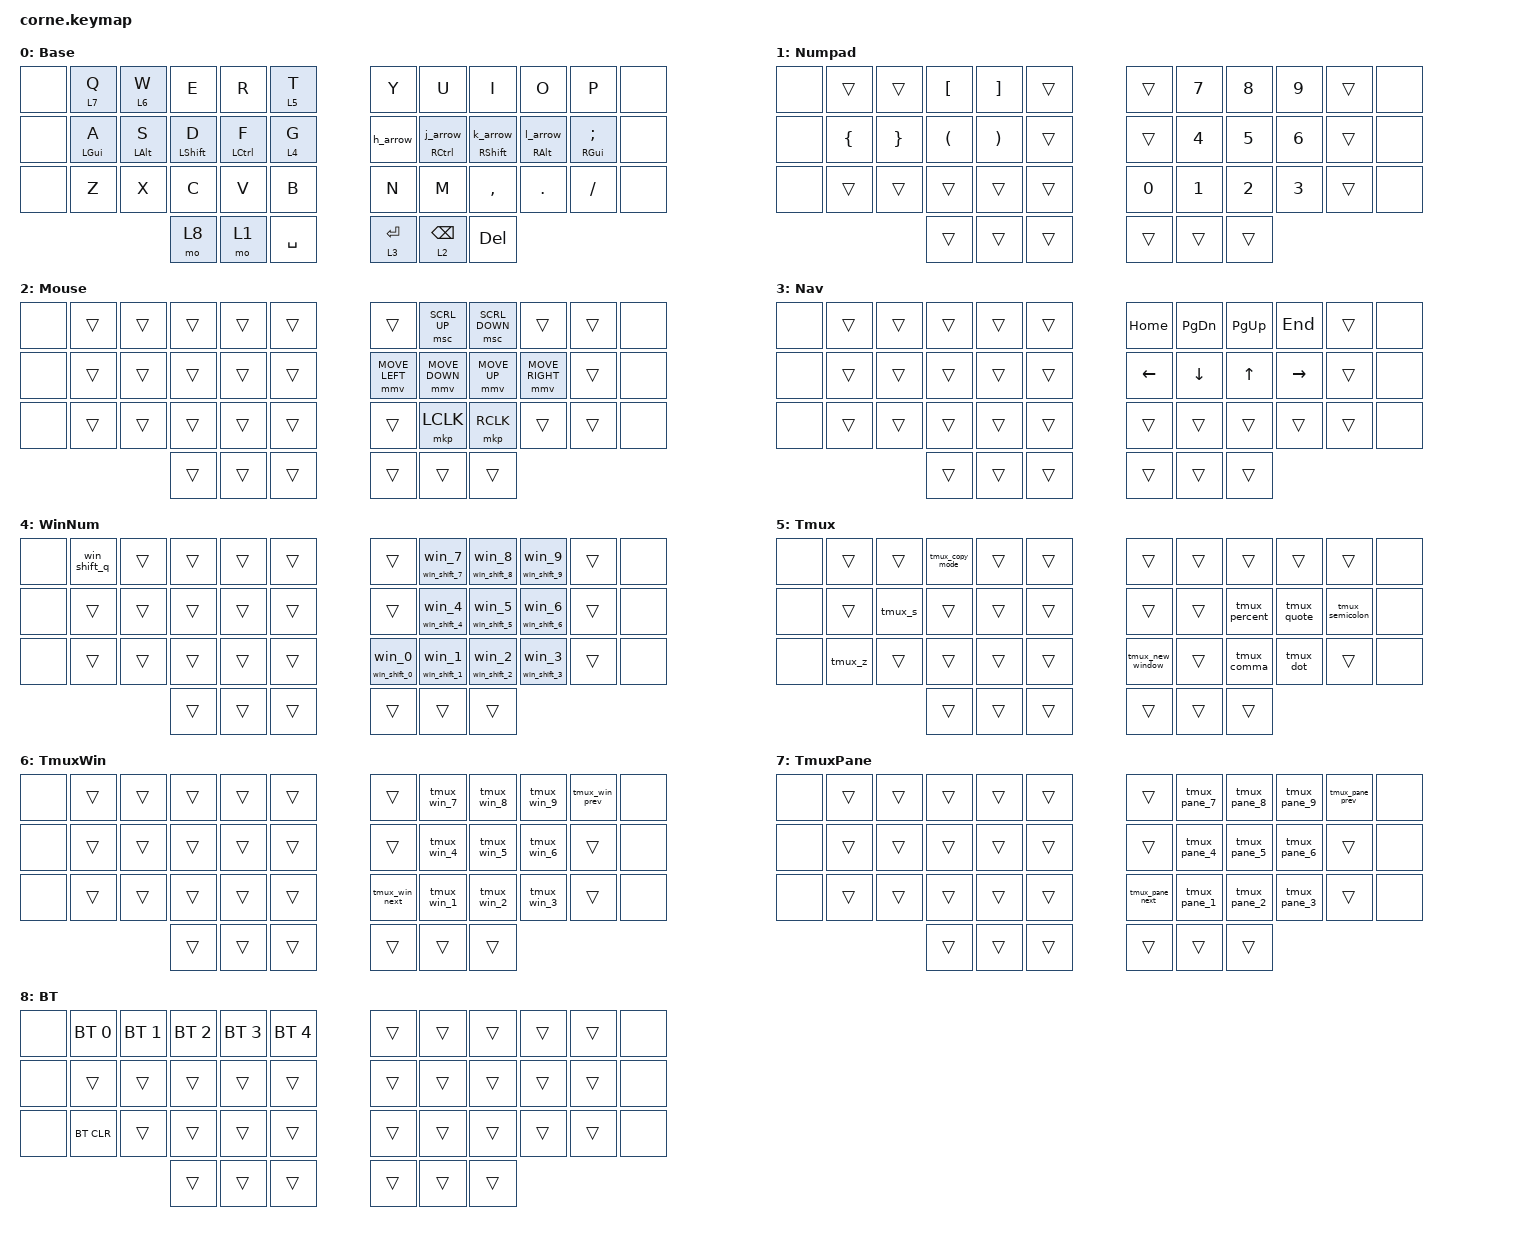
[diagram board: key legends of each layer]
/*
 * Copyright (c) 2020 The ZMK Contributors
 *
 * SPDX-License-Identifier: MIT
 */

#include <behaviors.dtsi>
#include <dt-bindings/zmk/keys.h>
#include <dt-bindings/zmk/bt.h>
#include <dt-bindings/zmk/mouse.h>

/ {
        behaviors {
                hm: homerow_mods {
                        compatible = "zmk,behavior-hold-tap";
                        #binding-cells = <2>;
                        tapping-term-ms = <150>;
                        quick-tap-ms = <200>;
                        flavor = "tap-preferred";
                        bindings = <&kp>, <&kp>;
                };
                h_arrow: h_arrow {
                        compatible = "zmk,behavior-mod-morph";
                        #binding-cells = <0>;
                        bindings = <&kp H>, <&kp LG(LEFT)>;
                        mods = <(MOD_LGUI)>;
                };
                j_arrow: j_arrow {
                        compatible = "zmk,behavior-mod-morph";
                        #binding-cells = <0>;
                        bindings = <&kp J>, <&kp LG(DOWN)>;
                        mods = <(MOD_LGUI)>;
                };
                k_arrow: k_arrow {
                        compatible = "zmk,behavior-mod-morph";
                        #binding-cells = <0>;
                        bindings = <&kp K>, <&kp LG(UP)>;
                        mods = <(MOD_LGUI)>;
                };
                l_arrow: l_arrow {
                        compatible = "zmk,behavior-mod-morph";
                        #binding-cells = <0>;
                        bindings = <&kp L>, <&kp LG(RIGHT)>;
                        mods = <(MOD_LGUI)>;
                };
                hm_j: homerow_mods_j {
                        compatible = "zmk,behavior-hold-tap";
                        #binding-cells = <2>;
                        tapping-term-ms = <150>;
                        quick-tap-ms = <200>;
                        flavor = "tap-preferred";
                        bindings = <&kp>, <&j_arrow>;
                };
                hm_k: homerow_mods_k {
                        compatible = "zmk,behavior-hold-tap";
                        #binding-cells = <2>;
                        tapping-term-ms = <150>;
                        quick-tap-ms = <200>;
                        flavor = "tap-preferred";
                        bindings = <&kp>, <&k_arrow>;
                };
                hm_l: homerow_mods_l {
                        compatible = "zmk,behavior-hold-tap";
                        #binding-cells = <2>;
                        tapping-term-ms = <150>;
                        quick-tap-ms = <200>;
                        flavor = "tap-preferred";
                        bindings = <&kp>, <&l_arrow>;
                };
                wn1: win_num_1 {
                        compatible = "zmk,behavior-hold-tap";
                        #binding-cells = <2>;
                        tapping-term-ms = <200>;
                        bindings = <&win_shift_1>, <&win_1>;
                };
                wn2: win_num_2 {
                        compatible = "zmk,behavior-hold-tap";
                        #binding-cells = <2>;
                        tapping-term-ms = <200>;
                        bindings = <&win_shift_2>, <&win_2>;
                };
                wn3: win_num_3 {
                        compatible = "zmk,behavior-hold-tap";
                        #binding-cells = <2>;
                        tapping-term-ms = <200>;
                        bindings = <&win_shift_3>, <&win_3>;
                };
                wn4: win_num_4 {
                        compatible = "zmk,behavior-hold-tap";
                        #binding-cells = <2>;
                        tapping-term-ms = <200>;
                        bindings = <&win_shift_4>, <&win_4>;
                };
                wn5: win_num_5 {
                        compatible = "zmk,behavior-hold-tap";
                        #binding-cells = <2>;
                        tapping-term-ms = <200>;
                        bindings = <&win_shift_5>, <&win_5>;
                };
                wn6: win_num_6 {
                        compatible = "zmk,behavior-hold-tap";
                        #binding-cells = <2>;
                        tapping-term-ms = <200>;
                        bindings = <&win_shift_6>, <&win_6>;
                };
                wn7: win_num_7 {
                        compatible = "zmk,behavior-hold-tap";
                        #binding-cells = <2>;
                        tapping-term-ms = <200>;
                        bindings = <&win_shift_7>, <&win_7>;
                };
                wn8: win_num_8 {
                        compatible = "zmk,behavior-hold-tap";
                        #binding-cells = <2>;
                        tapping-term-ms = <200>;
                        bindings = <&win_shift_8>, <&win_8>;
                };
                wn9: win_num_9 {
                        compatible = "zmk,behavior-hold-tap";
                        #binding-cells = <2>;
                        tapping-term-ms = <200>;
                        bindings = <&win_shift_9>, <&win_9>;
                };
                wn0: win_num_0 {
                        compatible = "zmk,behavior-hold-tap";
                        #binding-cells = <2>;
                        tapping-term-ms = <200>;
                        bindings = <&win_shift_0>, <&win_0>;
                };
        };

        macros {
                tmux_z: tmux_z {
                        compatible = "zmk,behavior-macro";
                        #binding-cells = <0>;
                        wait-ms = <1>;
                        tap-ms = <1>;
                        bindings = <&kp LC(SPACE)>
                                 , <&macro_wait_time 1>
                                 , <&kp Z>;
                };
                tmux_s: tmux_s {
                        compatible = "zmk,behavior-macro";
                        #binding-cells = <0>;
                        wait-ms = <1>;
                        tap-ms = <1>;
                        bindings = <&kp LC(SPACE)>
                                 , <&macro_wait_time 1>
                                 , <&kp S>;
                };
                tmux_comma: tmux_comma {
                        compatible = "zmk,behavior-macro";
                        #binding-cells = <0>;
                        wait-ms = <1>;
                        tap-ms = <1>;
                        bindings = <&kp LC(SPACE)>
                                 , <&macro_wait_time 1>
                                 , <&kp COMMA>;
                };
                tmux_dot: tmux_dot {
                        compatible = "zmk,behavior-macro";
                        #binding-cells = <0>;
                        wait-ms = <1>;
                        tap-ms = <1>;
                        bindings = <&kp LC(SPACE)>
                                 , <&macro_wait_time 1>
                                 , <&kp DOT>;
                };
                tmux_copy_mode: tmux_copy_mode {
                        compatible = "zmk,behavior-macro";
                        #binding-cells = <0>;
                        wait-ms = <1>;
                        tap-ms = <1>;
                        bindings = <&kp LC(SPACE)>
                                 , <&macro_wait_time 1>
                                 , <&kp LBKT>;
                };
                tmux_new_window: tmux_new_window {
                        compatible = "zmk,behavior-macro";
                        #binding-cells = <0>;
                        wait-ms = <1>;
                        tap-ms = <1>;
                        bindings = <&kp LC(SPACE)>
                                 , <&macro_wait_time 1>
                                 , <&kp C>;
                };
                tmux_new_session: tmux_new_session {
                        compatible = "zmk,behavior-macro";
                        #binding-cells = <0>;
                        wait-ms = <1>;
                        tap-ms = <1>;
                        bindings = <&kp LC(SPACE)>
                                 , <&macro_wait_time 1>
                                 , <&kp COLON>
                                 , <&macro_wait_time 10>
                                 , <&kp N>, <&kp E>, <&kp W>
                                 , <&kp MINUS>
                                 , <&kp S>, <&kp E>, <&kp S>, <&kp S>, <&kp I>, <&kp O>, <&kp N>
                                 , <&kp RET>;
                };
                tmux_kill_pane: tmux_kill_pane {
                        compatible = "zmk,behavior-macro";
                        #binding-cells = <0>;
                        wait-ms = <1>;
                        tap-ms = <1>;
                        bindings = <&kp LC(SPACE)>
                                 , <&macro_wait_time 1>
                                 , <&kp X>
                                 , <&macro_wait_time 10>
                                 , <&kp Y>;
                };
                tmux_kill_window: tmux_kill_window {
                        compatible = "zmk,behavior-macro";
                        #binding-cells = <0>;
                        wait-ms = <1>;
                        tap-ms = <1>;
                        bindings = <&kp LC(SPACE)>
                                 , <&macro_wait_time 1>
                                 , <&kp AMPS>
                                 , <&macro_wait_time 10>
                                 , <&kp Y>;
                };
                tmux_kill_session: tmux_kill_session {
                        compatible = "zmk,behavior-macro";
                        #binding-cells = <0>;
                        wait-ms = <1>;
                        tap-ms = <1>;
                        bindings = <&kp LC(SPACE)>
                                 , <&macro_wait_time 1>
                                 , <&kp COLON>
                                 , <&macro_wait_time 10>
                                 , <&kp K>, <&kp I>, <&kp L>, <&kp L>
                                 , <&kp MINUS>
                                 , <&kp S>, <&kp E>, <&kp S>, <&kp S>, <&kp I>, <&kp O>, <&kp N>
                                 , <&kp RET>;
                };
                tmux_percent: tmux_percent {
                        compatible = "zmk,behavior-macro";
                        #binding-cells = <0>;
                        wait-ms = <1>;
                        tap-ms = <1>;
                        bindings = <&kp LC(SPACE)>
                                 , <&macro_wait_time 1>
                                 , <&kp PRCNT>;
                };
                tmux_semicolon: tmux_semicolon {
                        compatible = "zmk,behavior-macro";
                        #binding-cells = <0>;
                        wait-ms = <1>;
                        tap-ms = <1>;
                        bindings = <&kp LC(SPACE)>
                                 , <&macro_wait_time 1>
                                 , <&kp SEMI>;
                };
                tmux_quote: tmux_quote {
                        compatible = "zmk,behavior-macro";
                        #binding-cells = <0>;
                        wait-ms = <1>;
                        tap-ms = <1>;
                        bindings = <&kp LC(SPACE)>
                                 , <&macro_wait_time 1>
                                 , <&kp DQT>;
                };
                tmux_win_0: tmux_win_0 {
                        compatible = "zmk,behavior-macro";
                        #binding-cells = <0>;
                        wait-ms = <1>;
                        tap-ms = <1>;
                        bindings = <&kp LC(SPACE)>
                                 , <&macro_wait_time 1>
                                 , <&kp N0>;
                };
                tmux_win_1: tmux_win_1 {
                        compatible = "zmk,behavior-macro";
                        #binding-cells = <0>;
                        wait-ms = <1>;
                        tap-ms = <1>;
                        bindings = <&kp LC(SPACE)>
                                 , <&macro_wait_time 1>
                                 , <&kp N1>;
                };
                tmux_win_2: tmux_win_2 {
                        compatible = "zmk,behavior-macro";
                        #binding-cells = <0>;
                        wait-ms = <1>;
                        tap-ms = <1>;
                        bindings = <&kp LC(SPACE)>
                                 , <&macro_wait_time 1>
                                 , <&kp N2>;
                };
                tmux_win_3: tmux_win_3 {
                        compatible = "zmk,behavior-macro";
                        #binding-cells = <0>;
                        wait-ms = <1>;
                        tap-ms = <1>;
                        bindings = <&kp LC(SPACE)>
                                 , <&macro_wait_time 1>
                                 , <&kp N3>;
                };
                tmux_win_4: tmux_win_4 {
                        compatible = "zmk,behavior-macro";
                        #binding-cells = <0>;
                        wait-ms = <1>;
                        tap-ms = <1>;
                        bindings = <&kp LC(SPACE)>
                                 , <&macro_wait_time 1>
                                 , <&kp N4>;
                };
                tmux_win_5: tmux_win_5 {
                        compatible = "zmk,behavior-macro";
                        #binding-cells = <0>;
                        wait-ms = <1>;
                        tap-ms = <1>;
                        bindings = <&kp LC(SPACE)>
                                 , <&macro_wait_time 1>
                                 , <&kp N5>;
                };
                tmux_win_6: tmux_win_6 {
                        compatible = "zmk,behavior-macro";
                        #binding-cells = <0>;
                        wait-ms = <1>;
                        tap-ms = <1>;
                        bindings = <&kp LC(SPACE)>
                                 , <&macro_wait_time 1>
                                 , <&kp N6>;
                };
                tmux_win_7: tmux_win_7 {
                        compatible = "zmk,behavior-macro";
                        #binding-cells = <0>;
                        wait-ms = <1>;
                        tap-ms = <1>;
                        bindings = <&kp LC(SPACE)>
                                 , <&macro_wait_time 1>
                                 , <&kp N7>;
                };
                tmux_win_8: tmux_win_8 {
                        compatible = "zmk,behavior-macro";
                        #binding-cells = <0>;
                        wait-ms = <1>;
                        tap-ms = <1>;
                        bindings = <&kp LC(SPACE)>
                                 , <&macro_wait_time 1>
                                 , <&kp N8>;
                };
                tmux_win_9: tmux_win_9 {
                        compatible = "zmk,behavior-macro";
                        #binding-cells = <0>;
                        wait-ms = <1>;
                        tap-ms = <1>;
                        bindings = <&kp LC(SPACE)>
                                 , <&macro_wait_time 1>
                                 , <&kp N9>;
                };
                tmux_win_next: tmux_win_next {
                        compatible = "zmk,behavior-macro";
                        #binding-cells = <0>;
                        wait-ms = <1>;
                        tap-ms = <1>;
                        bindings = <&kp LC(SPACE)>
                                 , <&macro_wait_time 1>
                                 , <&kp N>;
                };
                tmux_win_prev: tmux_win_prev {
                        compatible = "zmk,behavior-macro";
                        #binding-cells = <0>;
                        wait-ms = <1>;
                        tap-ms = <1>;
                        bindings = <&kp LC(SPACE)>
                                 , <&macro_wait_time 1>
                                 , <&kp P>;
                };
                tmux_pane_0: tmux_pane_0 {
                        compatible = "zmk,behavior-macro";
                        #binding-cells = <0>;
                        wait-ms = <1>;
                        tap-ms = <1>;
                        bindings = <&kp LC(SPACE)>
                                 , <&macro_wait_time 1>
                                 , <&kp Q>
                                 , <&macro_wait_time 200>
                                 , <&kp N0>;
                };
                tmux_pane_1: tmux_pane_1 {
                        compatible = "zmk,behavior-macro";
                        #binding-cells = <0>;
                        wait-ms = <1>;
                        tap-ms = <1>;
                        bindings = <&kp LC(SPACE)>
                                 , <&macro_wait_time 1>
                                 , <&kp Q>
                                 , <&macro_wait_time 200>
                                 , <&kp N1>;
                };
                tmux_pane_2: tmux_pane_2 {
                        compatible = "zmk,behavior-macro";
                        #binding-cells = <0>;
                        wait-ms = <1>;
                        tap-ms = <1>;
                        bindings = <&kp LC(SPACE)>
                                 , <&macro_wait_time 1>
                                 , <&kp Q>
                                 , <&macro_wait_time 200>
                                 , <&kp N2>;
                };
                tmux_pane_3: tmux_pane_3 {
                        compatible = "zmk,behavior-macro";
                        #binding-cells = <0>;
                        wait-ms = <1>;
                        tap-ms = <1>;
                        bindings = <&kp LC(SPACE)>
                                 , <&macro_wait_time 1>
                                 , <&kp Q>
                                 , <&macro_wait_time 200>
                                 , <&kp N3>;
                };
                tmux_pane_4: tmux_pane_4 {
                        compatible = "zmk,behavior-macro";
                        #binding-cells = <0>;
                        wait-ms = <1>;
                        tap-ms = <1>;
                        bindings = <&kp LC(SPACE)>
                                 , <&macro_wait_time 1>
                                 , <&kp Q>
                                 , <&macro_wait_time 200>
                                 , <&kp N4>;
                };
                tmux_pane_5: tmux_pane_5 {
                        compatible = "zmk,behavior-macro";
                        #binding-cells = <0>;
                        wait-ms = <1>;
                        tap-ms = <1>;
                        bindings = <&kp LC(SPACE)>
                                 , <&macro_wait_time 1>
                                 , <&kp Q>
                                 , <&macro_wait_time 200>
                                 , <&kp N5>;
                };
                tmux_pane_6: tmux_pane_6 {
                        compatible = "zmk,behavior-macro";
                        #binding-cells = <0>;
                        wait-ms = <1>;
                        tap-ms = <1>;
                        bindings = <&kp LC(SPACE)>
                                 , <&macro_wait_time 1>
                                 , <&kp Q>
                                 , <&macro_wait_time 200>
                                 , <&kp N6>;
                };
                tmux_pane_7: tmux_pane_7 {
                        compatible = "zmk,behavior-macro";
                        #binding-cells = <0>;
                        wait-ms = <1>;
                        tap-ms = <1>;
                        bindings = <&kp LC(SPACE)>
                                 , <&macro_wait_time 1>
                                 , <&kp Q>
                                 , <&macro_wait_time 200>
                                 , <&kp N7>;
                };
                tmux_pane_8: tmux_pane_8 {
                        compatible = "zmk,behavior-macro";
                        #binding-cells = <0>;
                        wait-ms = <1>;
                        tap-ms = <1>;
                        bindings = <&kp LC(SPACE)>
                                 , <&macro_wait_time 1>
                                 , <&kp Q>
                                 , <&macro_wait_time 200>
                                 , <&kp N8>;
                };
                tmux_pane_9: tmux_pane_9 {
                        compatible = "zmk,behavior-macro";
                        #binding-cells = <0>;
                        wait-ms = <1>;
                        tap-ms = <1>;
                        bindings = <&kp LC(SPACE)>
                                 , <&macro_wait_time 1>
                                 , <&kp Q>
                                 , <&macro_wait_time 200>
                                 , <&kp N9>;
                };
                tmux_pane_next: tmux_pane_next {
                        compatible = "zmk,behavior-macro";
                        #binding-cells = <0>;
                        wait-ms = <1>;
                        tap-ms = <1>;
                        bindings = <&kp LC(SPACE)>
                                 , <&macro_wait_time 1>
                                 , <&kp O>;
                };
                tmux_pane_prev: tmux_pane_prev {
                        compatible = "zmk,behavior-macro";
                        #binding-cells = <0>;
                        wait-ms = <1>;
                        tap-ms = <1>;
                        bindings = <&kp LC(SPACE)>
                                 , <&macro_wait_time 1>
                                 , <&kp SEMI>;
                };
                win_shift_q: win_shift_q {
                        compatible = "zmk,behavior-macro";
                        #binding-cells = <0>;
                        bindings = <&kp LG(LS(Q))>;
                };
                win_1: win_1 {
                        compatible = "zmk,behavior-macro";
                        #binding-cells = <0>;
                        bindings = <&kp LG(N1)>;
                };
                win_2: win_2 {
                        compatible = "zmk,behavior-macro";
                        #binding-cells = <0>;
                        bindings = <&kp LG(N2)>;
                };
                win_3: win_3 {
                        compatible = "zmk,behavior-macro";
                        #binding-cells = <0>;
                        bindings = <&kp LG(N3)>;
                };
                win_4: win_4 {
                        compatible = "zmk,behavior-macro";
                        #binding-cells = <0>;
                        bindings = <&kp LG(N4)>;
                };
                win_5: win_5 {
                        compatible = "zmk,behavior-macro";
                        #binding-cells = <0>;
                        bindings = <&kp LG(N5)>;
                };
                win_6: win_6 {
                        compatible = "zmk,behavior-macro";
                        #binding-cells = <0>;
                        bindings = <&kp LG(N6)>;
                };
                win_7: win_7 {
                        compatible = "zmk,behavior-macro";
                        #binding-cells = <0>;
                        bindings = <&kp LG(N7)>;
                };
                win_8: win_8 {
                        compatible = "zmk,behavior-macro";
                        #binding-cells = <0>;
                        bindings = <&kp LG(N8)>;
                };
                win_9: win_9 {
                        compatible = "zmk,behavior-macro";
                        #binding-cells = <0>;
                        bindings = <&kp LG(N9)>;
                };
                win_0: win_0 {
                        compatible = "zmk,behavior-macro";
                        #binding-cells = <0>;
                        bindings = <&kp LG(N0)>;
                };
                win_shift_1: win_shift_1 {
                        compatible = "zmk,behavior-macro";
                        #binding-cells = <0>;
                        bindings = <&kp LG(LS(N1))>;
                };
                win_shift_2: win_shift_2 {
                        compatible = "zmk,behavior-macro";
                        #binding-cells = <0>;
                        bindings = <&kp LG(LS(N2))>;
                };
                win_shift_3: win_shift_3 {
                        compatible = "zmk,behavior-macro";
                        #binding-cells = <0>;
                        bindings = <&kp LG(LS(N3))>;
                };
                win_shift_4: win_shift_4 {
                        compatible = "zmk,behavior-macro";
                        #binding-cells = <0>;
                        bindings = <&kp LG(LS(N4))>;
                };
                win_shift_5: win_shift_5 {
                        compatible = "zmk,behavior-macro";
                        #binding-cells = <0>;
                        bindings = <&kp LG(LS(N5))>;
                };
                win_shift_6: win_shift_6 {
                        compatible = "zmk,behavior-macro";
                        #binding-cells = <0>;
                        bindings = <&kp LG(LS(N6))>;
                };
                win_shift_7: win_shift_7 {
                        compatible = "zmk,behavior-macro";
                        #binding-cells = <0>;
                        bindings = <&kp LG(LS(N7))>;
                };
                win_shift_8: win_shift_8 {
                        compatible = "zmk,behavior-macro";
                        #binding-cells = <0>;
                        bindings = <&kp LG(LS(N8))>;
                };
                win_shift_9: win_shift_9 {
                        compatible = "zmk,behavior-macro";
                        #binding-cells = <0>;
                        bindings = <&kp LG(LS(N9))>;
                };
                win_shift_0: win_shift_0 {
                        compatible = "zmk,behavior-macro";
                        #binding-cells = <0>;
                        bindings = <&kp LG(LS(N0))>;
                };
        };

        combos {
                compatible = "zmk,combos";
                combo_esc {
                        timeout-ms = <50>;
                        key-positions = <19 20>;
                        bindings = <&kp ESC>;
                };
                combo_excl {
                        timeout-ms = <50>;
                        key-positions = <27 28 31>;
                        bindings = <&kp EXCL>;
                };
                combo_at {
                        timeout-ms = <50>;
                        key-positions = <27 28 32>;
                        bindings = <&kp AT>;
                };
                combo_hash {
                        timeout-ms = <50>;
                        key-positions = <27 28 33>;
                        bindings = <&kp HASH>;
                };
                combo_dollar {
                        timeout-ms = <50>;
                        key-positions = <27 28 19>;
                        bindings = <&kp DLLR>;
                };
                combo_percent {
                        timeout-ms = <50>;
                        key-positions = <27 28 20>;
                        bindings = <&kp PRCNT>;
                };
                combo_caret {
                        timeout-ms = <50>;
                        key-positions = <27 28 21>;
                        bindings = <&kp CARET>;
                };
                combo_ampersand {
                        timeout-ms = <50>;
                        key-positions = <27 28 7>;
                        bindings = <&kp AMPS>;
                };
                combo_asterisk {
                        timeout-ms = <50>;
                        key-positions = <27 28 8>;
                        bindings = <&kp ASTRK>;
                };
                combo_equal {
                        timeout-ms = <50>;
                        key-positions = <27 28>;
                        bindings = <&kp EQUAL>;
                };
                combo_minus {
                        timeout-ms = <50>;
                        key-positions = <31 32>;
                        bindings = <&kp MINUS>;
                };
                combo_quote {
                        timeout-ms = <50>;
                        key-positions = <32 33>;
                        bindings = <&kp SQT>;
                };
                combo_backslash {
                        timeout-ms = <50>;
                        key-positions = <32 33 34>;
                        bindings = <&kp BSLH>;
                };
                combo_grave {
                        timeout-ms = <50>;
                        key-positions = <31 32 33>;
                        bindings = <&kp GRAVE>;
                };
                combo_tab {
                        timeout-ms = <50>;
                        key-positions = <19 20 21>;
                        bindings = <&kp TAB>;
                };
                combo_tmux_new_session {
                        timeout-ms = <50>;
                        key-positions = <14 30>;
                        bindings = <&tmux_new_session>;
                };
                combo_tmux_kill_pane {
                        timeout-ms = <50>;
                        key-positions = <1 40>;
                        bindings = <&tmux_kill_pane>;
                };
                combo_tmux_kill_window {
                        timeout-ms = <50>;
                        key-positions = <2 40>;
                        bindings = <&tmux_kill_window>;
                };
                combo_f1 {
                        timeout-ms = <50>;
                        key-positions = <36 31>;
                        bindings = <&kp F1>;
                };
                combo_f2 {
                        timeout-ms = <50>;
                        key-positions = <36 32>;
                        bindings = <&kp F2>;
                };
                combo_f3 {
                        timeout-ms = <50>;
                        key-positions = <36 33>;
                        bindings = <&kp F3>;
                };
                combo_f4 {
                        timeout-ms = <50>;
                        key-positions = <36 19>;
                        bindings = <&kp F4>;
                };
                combo_f5 {
                        timeout-ms = <50>;
                        key-positions = <36 20>;
                        bindings = <&kp F5>;
                };
                combo_f6 {
                        timeout-ms = <50>;
                        key-positions = <36 21>;
                        bindings = <&kp F6>;
                };
                combo_f7 {
                        timeout-ms = <50>;
                        key-positions = <36 7>;
                        bindings = <&kp F7>;
                };
                combo_f8 {
                        timeout-ms = <50>;
                        key-positions = <36 8>;
                        bindings = <&kp F8>;
                };
                combo_f9 {
                        timeout-ms = <50>;
                        key-positions = <36 9>;
                        bindings = <&kp F9>;
                };
                combo_f10 {
                        timeout-ms = <50>;
                        key-positions = <36 34>;
                        bindings = <&kp F10>;
                };
                combo_f11 {
                        timeout-ms = <50>;
                        key-positions = <36 22>;
                        bindings = <&kp F11>;
                };
                combo_f12 {
                        timeout-ms = <50>;
                        key-positions = <36 10>;
                        bindings = <&kp F12>;
                };
                combo_gaming_toggle {
                        timeout-ms = <50>;
                        key-positions = <41 1>;
                        bindings = <&tog 9>;
                };
                combo_lbrc {
                        timeout-ms = <50>;
                        key-positions = <31 32 13>;
                        bindings = <&kp LBRC>;
                };
                combo_rbrc {
                        timeout-ms = <50>;
                        key-positions = <31 32 14>;
                        bindings = <&kp RBRC>;
                };
                combo_lpar {
                        timeout-ms = <50>;
                        key-positions = <31 32 15>;
                        bindings = <&kp LPAR>;
                };
                combo_rpar {
                        timeout-ms = <50>;
                        key-positions = <31 32 16>;
                        bindings = <&kp RPAR>;
                };
                combo_lbkt {
                        timeout-ms = <50>;
                        key-positions = <31 32 3>;
                        bindings = <&kp LBKT>;
                };
                combo_rbkt {
                        timeout-ms = <50>;
                        key-positions = <31 32 4>;
                        bindings = <&kp RBKT>;
                };
                combo_paste {
                        timeout-ms = <50>;
                        key-positions = <38 28>;
                        bindings = <&kp LC(LS(V))>;
                };
                combo_screenshot {
                        timeout-ms = <50>;
                        key-positions = <38 8>;
                        bindings = <&kp LC(F8)>;
                };
                combo_screenshot_shift {
                        timeout-ms = <50>;
                        key-positions = <38 7>;
                        bindings = <&kp LC(LS(F8))>;
                };
                combo_copy {
                        timeout-ms = <50>;
                        key-positions = <38 27>;
                        bindings = <&kp LC(LS(C))>;
                };
                combo_shift_oneshot {
                        timeout-ms = <50>;
                        key-positions = <15 16>;
                        bindings = <&sk LSHFT>;
                };
                combo_caps_lock {
                        timeout-ms = <50>;
                        key-positions = <14 15 16>;
                        bindings = <&kp CAPS>;
                };
        };

        keymap {
                compatible = "zmk,keymap";

                default_layer {
                        display-name = "Base";
// -----------------------------------------------------------------------------------------
// |NONE |  Q  |  W  |  E  |  R  |  T  |   |  Y  |  U   |  I  |  O  |  P  |NONE |
// |NONE | A/GUI| S/ALT| D/SHFT| F/CTRL|  G  |   |  H  | J/CTRL| K/SHFT| L/ALT| ;/GUI|NONE |
// |NONE |  Z  |  X  |  C  |  V  |  B  |   |  N  |  M   |  ,  |  .  |  /  |NONE |
//                  |     | NUM | SPC |   | ENT/NAV | EDIT |     |
                        bindings = <
   &none  &lt 7 Q      &lt 6 W     &kp E        &kp R         &lt 5 T    &kp Y &kp U         &kp I        &kp O       &kp P        &none
   &none  &hm LGUI A   &hm LALT S  &hm LSHFT D  &hm LCTRL F   &lt 4 G    &h_arrow &hm_j RCTRL 0   &hm_k RSHFT 0  &hm_l RALT 0  &hm RGUI SEMI &none
   &none  &kp Z        &kp X       &kp C        &kp V         &kp B      &kp N &kp M         &kp COMMA    &kp DOT     &kp FSLH     &none
                                                &mo 8 &mo 1 &kp SPACE   &lt 3 RET &lt 2 BSPC &kp DEL
                        >;
                };
                numpad_layer {
                        display-name = "Numpad";
// -----------------------------------------------------------------------------------------
// |NONE |     |     |  [  |  ]  |     |   |     |  7  |  8  |  9  |     |NONE |
// |NONE |  {  |  }  |  (  |  )  |     |   |     |  4  |  5  |  6  |     |NONE |
// |NONE |     |     |     |     |     |   |  0  |  1  |  2  |  3  |     |NONE |
//                  |     |     |     |   |     |     |     |
                        bindings = <
   &none  &trans       &trans       &kp LBKT     &kp RBKT     &trans         &trans &kp N7 &kp N8 &kp N9 &trans &none
   &none  &kp LBRC     &kp RBRC     &kp LPAR     &kp RPAR     &trans         &trans &kp N4 &kp N5 &kp N6 &trans &none
   &none  &trans       &trans       &trans       &trans       &trans         &kp N0 &kp N1 &kp N2 &kp N3 &trans &none
                                                 &trans     &trans       &trans      &trans  &trans   &trans
                        >;
                };

                edit_layer {
                        display-name = "Mouse";
// -----------------------------------------------------------------------------------------
// |NONE |     |     |     |     |     |   |     | SclU| SclD|     |     |NONE |
// |NONE |     |     |     |     |     |   |  ←  |  ↓  |  ↑  |  →  |     |NONE |
// |NONE |     |     |     |     |     |   |     |LClk |RClk |     |     |NONE |
//                  |     |     |     |   |     | BSPC|     |
                        bindings = <
   &none  &trans   &trans &trans   &trans   &trans      &trans            &msc SCRL_UP   &msc SCRL_DOWN &trans          &trans &none
   &none  &trans   &trans &trans   &trans   &trans      &mmv MOVE_LEFT    &mmv MOVE_DOWN &mmv MOVE_UP   &mmv MOVE_RIGHT &trans &none
   &none  &trans   &trans &trans   &trans   &trans      &trans            &mkp LCLK      &mkp RCLK      &trans          &trans &none
                                   &trans   &trans   &trans      &trans   &trans    &trans
                        >;
                };

                nav_layer {
                        display-name = "Nav";
// -----------------------------------------------------------------------------------------
// |NONE |     |     |     |     |     |   | HOME| PGDN| PGUP| END |     |NONE |
// |NONE |     |     |     |     |     |   |  ←  |  ↓  |  ↑  |  →  |     |NONE |
// |NONE |     |     |     |     |     |   |     |     |     |     |     |NONE |
//                  |     |     |     |   |     |     |     |
                        bindings = <
   &none  &trans   &trans &trans   &trans   &trans      &kp HOME &kp PG_DN &kp PG_UP &kp END   &trans &none
   &none  &trans   &trans &trans   &trans   &trans      &kp LEFT &kp DOWN  &kp UP    &kp RIGHT &trans &none
   &none  &trans   &trans &trans   &trans   &trans      &trans   &trans    &trans    &trans    &trans &none
                                   &trans   &trans   &trans      &trans   &trans    &trans
                        >;
                };

                win_num_layer {
                        display-name = "WinNum";
// -----------------------------------------------------------------------------------------
// |NONE |W+S+Q|     |     |     |     |   |     | W+7 | W+8 | W+9 |     |NONE |
// |NONE |     |     |     |     |  G  |   |     | W+4 | W+5 | W+6 |     |NONE |
// |NONE |     |     |     |     |     |   | W+0 | W+1 | W+2 | W+3 |     |NONE |
//                  |     |     |     |   |     |     |     |
                        bindings = <
   &none  &win_shift_q   &trans &trans   &trans   &trans      &trans    &wn7 0 0  &wn8 0 0  &wn9 0 0  &trans &none
   &none  &trans         &trans &trans   &trans   &trans      &trans    &wn4 0 0  &wn5 0 0  &wn6 0 0  &trans &none
   &none  &trans         &trans &trans   &trans   &trans      &wn0 0 0  &wn1 0 0  &wn2 0 0  &wn3 0 0  &trans &none
                                   &trans   &trans   &trans      &trans   &trans    &trans
                        >;
                };

                tmux_layer {
                        display-name = "Tmux";
// -----------------------------------------------------------------------------------------
// |NONE |     |     | C-SPC [ |     |  T  |   |     |     |     |     |     |NONE |
// |NONE |     |C-SPC S|  |     |     |   |     |     | C-SPC %| C-SPC "| C-SPC ;|NONE |
// |NONE |C-SPC Z|  |     |     |     |   |NEW WIN|     | C-SPC , | C-SPC . |     |NONE |
//                  |     |     |     |   |     |     |     |
                        bindings = <
   &none  &trans   &trans  &tmux_copy_mode   &trans   &trans           &trans             &trans        &trans        &trans           &trans           &none
   &none  &trans   &tmux_s &trans   &trans   &trans           &trans             &trans        &tmux_percent &tmux_quote      &tmux_semicolon  &none
   &none  &tmux_z  &trans  &trans   &trans   &trans           &tmux_new_window   &trans        &tmux_comma   &tmux_dot        &trans           &none
                                    &trans   &trans   &trans      &trans   &trans    &trans
                        >;
                };

                tmux_window_layer {
                        display-name = "TmuxWin";
// -----------------------------------------------------------------------------------------
// |NONE |     |  W  |     |     |     |   |     | Win7| Win8| Win9|WinPrev|NONE |
// |NONE |     |     |     |     |     |   |     | Win4| Win5| Win6|     |NONE |
// |NONE |     |     |     |     |     |   |WinNext|Win1| Win2| Win3|     |NONE |
//                  |     |     |     |   |     |     |     |
                        bindings = <
   &none  &trans   &trans &trans   &trans   &trans              &trans           &tmux_win_7    &tmux_win_8    &tmux_win_9    &tmux_win_prev  &none
   &none  &trans   &trans &trans   &trans   &trans              &trans           &tmux_win_4    &tmux_win_5    &tmux_win_6    &trans          &none
   &none  &trans   &trans &trans   &trans   &trans              &tmux_win_next   &tmux_win_1    &tmux_win_2    &tmux_win_3    &trans          &none
                                   &trans   &trans   &trans      &trans           &trans         &trans
                        >;
                };

                tmux_pane_layer {
                        display-name = "TmuxPane";
// -----------------------------------------------------------------------------------------
// |NONE |  Q  |     |     |     |     |   |     | Pane7| Pane8| Pane9|PanePrev|NONE |
// |NONE |     |     |     |     |     |   |     | Pane4| Pane5| Pane6|     |NONE |
// |NONE |     |     |     |     |     |   |PaneNext|Pane1| Pane2| Pane3|     |NONE |
//                  |     |     |     |   |     |     |     |
                        bindings = <
   &none  &trans   &trans &trans   &trans   &trans              &trans           &tmux_pane_7    &tmux_pane_8    &tmux_pane_9    &tmux_pane_prev &none
   &none  &trans   &trans &trans   &trans   &trans              &trans           &tmux_pane_4    &tmux_pane_5    &tmux_pane_6    &trans          &none
   &none  &trans   &trans &trans   &trans   &trans              &tmux_pane_next  &tmux_pane_1    &tmux_pane_2    &tmux_pane_3    &trans          &none
                                   &trans   &trans   &trans      &trans           &trans          &trans
                        >;
                };

                bluetooth_layer {
                        display-name = "BT";
// -----------------------------------------------------------------------------------------
// |NONE | BT1 | BT2 | BT3 | BT4 | BT5 |   |     |     |     |     |     |NONE |
// |NONE |     |     |     |     |     |   |     |     |     |     |     |NONE |
// |NONE |BTCLR|     |     |     |     |   |     |     |     |     |     |NONE |
//                  |     |     |     |   |     |     |     |
                        bindings = <
   &none  &bt BT_SEL 0 &bt BT_SEL 1 &bt BT_SEL 2 &bt BT_SEL 3 &bt BT_SEL 4   &trans &trans &trans &trans &trans &none
   &none  &trans       &trans       &trans       &trans       &trans         &trans &trans &trans &trans &trans &none
   &none  &bt BT_CLR   &trans       &trans       &trans       &trans         &trans &trans &trans &trans &trans &none
                                                 &trans   &trans   &trans      &trans   &trans    &trans
                        >;
                };
        };

                gaming_layer {
                        display-name = "Game";
// -----------------------------------------------------------------------------------------
// |NONE |     |  W  |     |     |     |   |     |     |     |     |     |NONE |
// |NONE |  A  |  S  |  D  |     |     |   |     |     |     |     |     |NONE |
// |NONE |     |     |     |     |     |   |     |     |     |     |     |NONE |
//                  |     |     | SPC |   | ENT |     |     |
                        bindings = <
   &none  &none  &kp W  &none  &none  &none      &none &none &none &none &none &none
   &none  &kp A  &kp S  &kp D  &none  &none      &none &none &none &none &none &none
   &none  &none  &none  &none  &none  &none      &none &none &none &none &none &none
                         &none  &none  &kp SPACE  &kp RET &none &none
                        >;
                };
        };
};
